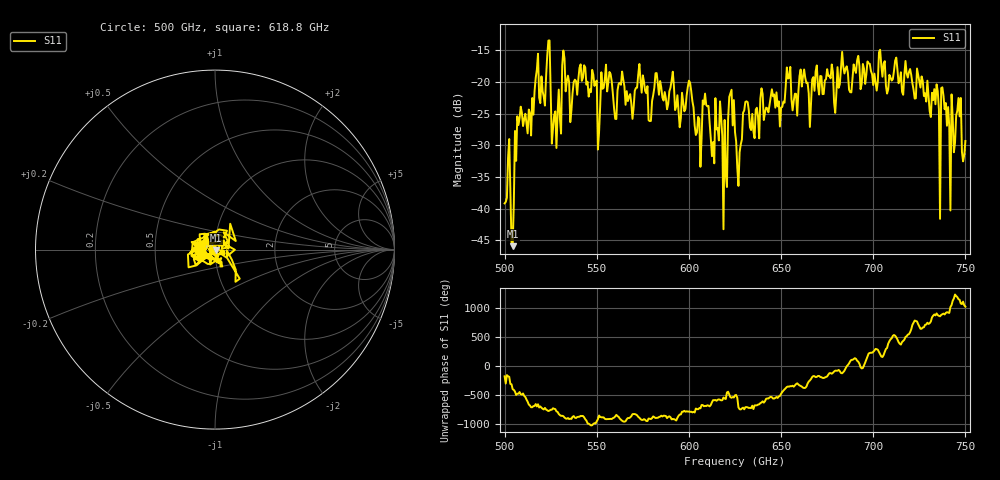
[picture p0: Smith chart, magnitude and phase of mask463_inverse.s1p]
!Created with skrf (http://scikit-rf.org).
# GHz S MA R 50.0
!freq magS11 angS11
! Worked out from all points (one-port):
!   401 points, 500 GHz to 750 GHz, reference 50 ohm
!   lowest |S11| = -46.0 dB at 504.4 GHz (marker M1), VSWR 1.01, Z = 50.4 - j0.323 ohm
!   |S11| at or under -10 dB: start of sweep to end of sweep
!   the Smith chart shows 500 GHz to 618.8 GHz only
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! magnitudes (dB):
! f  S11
! 500 GHz  -39.2
! 504.4 GHz  -46.0
! 508.1 GHz  -25.7
! 523.8 GHz  -13.5
! 526.9 GHz  -25.3
! 531.2 GHz  -17.4
! 548.8 GHz  -20.6
! 550.6 GHz  -30.7
! 562.5 GHz  -20.1
! 593.8 GHz  -22.1
! 600.6 GHz  -20.1
! 605.6 GHz  -25.8
! 609.4 GHz  -23.6
! 612.5 GHz  -31.7
! 616.9 GHz  -23.1
! 619.4 GHz  -26.0
! 622.5 GHz  -21.8
! 625 GHz  -27.9
! 627.5 GHz  -31.1
! 630.6 GHz  -23.1
! 656.2 GHz  -24.5
! 687.5 GHz  -21.6
! 718.8 GHz  -19.3
! 735 GHz  -21.5
! 738.1 GHz  -22.2
! 743.1 GHz  -25.8
! 746.2 GHz  -22.5
! 750 GHz  -29.3
